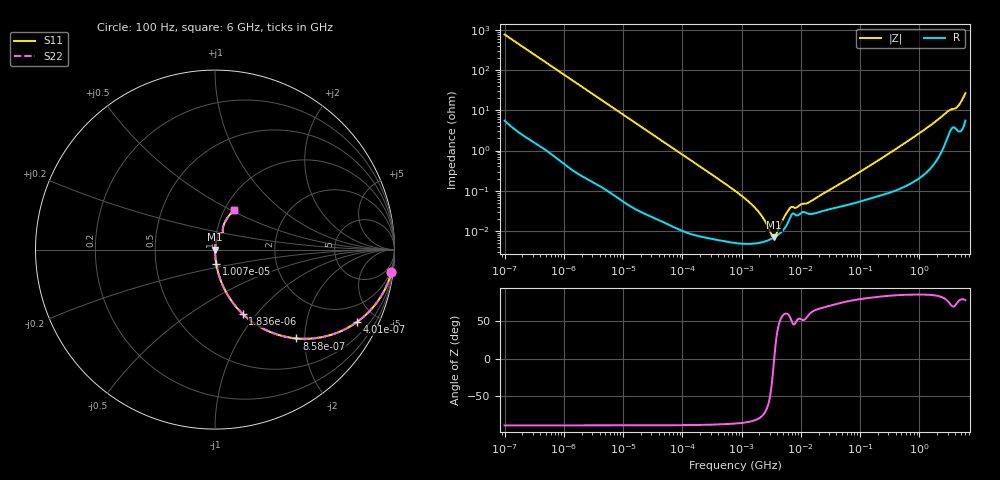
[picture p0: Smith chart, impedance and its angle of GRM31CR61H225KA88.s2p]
!Murata Part Number: GRM31CR61H225KA88
!These Parameters are Measured in Series Mode Connection
!Data Generated on Mar 30, 2021
!  o--ll--o
!Port1  Port2
!  o------o
!Operation Temp=25[degC], DC Bias Voltage=0[V]
!Freq. Start=100[Hz] Stop=6[GHz] 401[Steps]
# Hz S RI R 50
!Freq.(Hz) S11(Real) S11(Imag) S21(Real) S21(Imag) S12(Real) S12(Imag) S22(Real) S22(Imag)
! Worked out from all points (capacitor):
!   401 points, 100 Hz to 6 GHz, reference 50 ohm
!   read as one part in series: C = 2.05 uF near 109 Hz
!   lowest |Z| = 6.87 mohm at 3.55 MHz (marker M1)
!   series resonance near 3.555 MHz, so ESL is about 980 pH
!   S11 on the Smith chart (normalised r, x): 100 Hz: 1, -15; 401 Hz: 1.03, -3.88; 858 Hz: 1.01, -1.82; 1.836 kHz: 1.01, -0.85; 10.07 kHz: 1.00, -0.16; 6 GHz: 1.11, +0.52
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100  0.9827 -0.1267  0.0173 0.1267  0.0173 0.1267  0.9827 -0.1267
224  0.9218 -0.2653  0.0782 0.2653  0.0782 0.2653  0.9218 -0.2653
401  0.7889 -0.4048  0.2111 0.4048  0.2111 0.4048  0.7889 -0.4048
858  0.4534 -0.4948  0.5466 0.4948  0.5466 0.4948  0.4534 -0.4948
1836  0.1552 -0.3592  0.8448 0.3592  0.8448 0.3592  0.1552 -0.3592
2008  0.1334 -0.337  0.8666 0.337  0.8666 0.337  0.1334 -0.337
3759  0.043 -0.1995  0.957 0.1995  0.957 0.1995  0.043 -0.1995
10066  0.00661 -0.0777  0.9934 0.0777  0.9934 0.0777  0.00661 -0.0777
40335  0.00057 -0.0196  0.9994 0.0196  0.9994 0.0196  0.00057 -0.0196
774597  5.07e-05 -0.000991  0.9999 0.000991  0.9999 0.000991  5.07e-05 -0.000991
1658239  4.83e-05 -0.000382  1 0.000382  1 0.000382  4.83e-05 -0.000382
2169299  5.16e-05 -0.000235  0.9999 0.000235  0.9999 0.000235  5.16e-05 -0.000235
2967816  6.01e-05 -8.32e-05  0.9999 8.32e-05  0.9999 8.32e-05  6.01e-05 -8.32e-05
3549919  6.87e-05 -6e-07  0.9999 6e-07  0.9999 6e-07  6.87e-05 -6e-07
4246196  8.22e-05 8.31e-05  0.9999 -8.31e-05  0.9999 -8.31e-05  8.22e-05 8.31e-05
5554849  0.000126 0.000221  0.9999 -0.000221  0.9999 -0.000221  0.000126 0.000221
6644369  0.000217 0.000305  0.9998 -0.000305  0.9998 -0.000305  0.000217 0.000305
1.555665e7  0.000264 0.000509  0.9997 -0.000509  0.9997 -0.000509  0.000264 0.000509
3.124326e8  0.000958 0.00849  0.999 -0.00849  0.999 -0.00849  0.000958 0.00849
3.065283e9  0.0302 0.0879  0.9698 -0.0879  0.9698 -0.0879  0.0302 0.0879
4.193612e9  0.0437 0.1016  0.9563 -0.1016  0.9563 -0.1016  0.0437 0.1016
6e9  0.1076 0.2213  0.8924 -0.2213  0.8924 -0.2213  0.1076 0.2213
